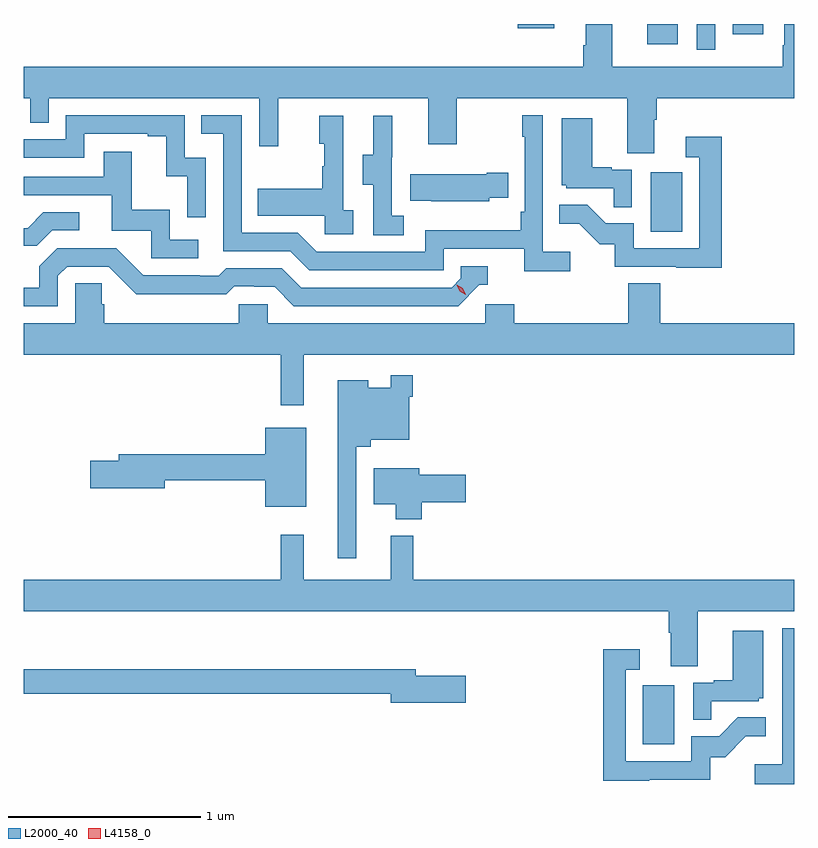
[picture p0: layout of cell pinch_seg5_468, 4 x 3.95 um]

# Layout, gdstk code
import gdstk
lib = gdstk.Library(unit=1e-6, precision=1e-09)
def R(c, l, rs):  # rectangles x0, y0, x1, y1
    for r in rs: c.add(gdstk.rectangle(r[:2], r[2:], *l))
def P(c, l, *ps):  # polygons
    for p in ps: c.add(gdstk.Polygon(p, *l))
L2000_40 = (2000, 40)
L4158_0 = (4158, 0)

pinch_seg5_468 = lib.new_cell('pinch_seg5_468')
R(pinch_seg5_468, L2000_40, [(902.36,853.404,902.524,853.711), (902.402,856.068,902.566,856.375), (902.64,857.013,902.736,857.146), (902.384,857.04,902.542,857.146), (902.828,857.094,902.986,857.146), (901.711,857.124,901.9,857.146)])
P(pinch_seg5_468, L2000_40, [(902.419,856.648),(902.432,856.648),(902.432,856.76),(903.146,856.76),(903.146,857.146),(903.095,857.146),(903.095,857.036),(903.088,857.036),(903.088,856.924),(902.203,856.924),(902.203,857.146),(902.063,857.146),(902.063,857.036),(902.051,857.036),(902.051,856.924),(899.146,856.924),(899.146,856.76),(899.178,856.76),(899.178,856.633),(899.274,856.633),(899.274,856.76),(900.369,856.76),(900.369,856.512),(900.467,856.512),(900.467,856.76),(901.247,856.76),(901.247,856.521),(901.395,856.521),(901.395,856.76),(902.279,856.76),(902.279,856.474),(902.419,856.474)],
  [(901.984,855.964),(901.842,855.964),(901.842,856.672),(901.734,856.672),(901.734,856.559),(901.746,856.559),(901.746,856.171),(901.726,856.171),(901.726,856.075),(901.23,856.075),(901.23,855.963),(900.666,855.963),(900.567,856.062),(900.276,856.062),(900.276,856.671),(900.067,856.671),(900.067,856.575),(900.18,856.575),(900.18,855.966),(900.53,855.966),(900.629,855.867),(901.326,855.867),(901.326,855.978),(901.745,855.978),(901.745,855.862),(901.984,855.862)],
  [(900.09,856.452),(899.982,856.452),(899.982,856.671),(899.364,856.671),(899.364,856.548),(899.146,856.548),(899.146,856.452),(899.46,856.452),(899.46,856.575),(899.789,856.575),(899.789,856.563),(899.885,856.563),(899.885,856.355),(899.994,856.355),(899.994,856.143),(900.09,856.143)],
  [(901.12,856.151),(901.056,856.151),(901.056,856.455),(901.058,856.455),(901.058,856.669),(900.959,856.669),(900.959,856.467),(900.905,856.467),(900.905,856.312),(900.96,856.312),(900.96,856.048),(901.12,856.048)],
  [(900.856,856.178),(900.804,856.178),(900.804,856.669),(900.68,856.669),(900.68,856.524),(900.706,856.524),(900.706,856.406),(900.696,856.406),(900.696,856.291),(900.361,856.291),(900.361,856.151),(900.708,856.151),(900.708,856.053),(900.856,856.053)],
  [(902.304,856.389),(902.198,856.389),(902.198,856.402),(902.098,856.402),(902.098,856.657),(901.94,856.657),(901.94,856.308),(901.962,856.308),(901.962,856.293),(902.209,856.293),(902.209,856.195),(902.304,856.195)],
  [(902.771,856.561),(902.583,856.561),(902.583,856.455),(902.655,856.455),(902.655,855.981),(902.313,855.981),(902.313,856.11),(902.169,856.11),(902.071,856.208),(901.927,856.208),(901.927,856.109),(902.031,856.109),(902.138,856.002),(902.215,856.002),(902.215,855.885),(902.533,855.885),(902.533,855.88),(902.771,855.88)],
  [(900.052,856.026),(899.904,856.026),(899.904,856.18),(899.705,856.18),(899.705,856.483),(899.561,856.483),(899.561,856.353),(899.146,856.353),(899.146,856.257),(899.603,856.257),(899.603,856.071),(899.808,856.071),(899.808,855.93),(900.052,855.93)],
  [(901.563,856.244),(901.661,856.244),(901.661,856.374),(901.55,856.374),(901.55,856.366),(901.153,856.366),(901.153,856.229),(901.261,856.229),(901.261,856.226),(901.563,856.226)],
  [(899.292,856.074),(899.434,856.074),(899.434,856.167),(899.246,856.167),(899.165,856.086),(899.146,856.086),(899.146,855.994),(899.212,855.994)],
  [(899.322,855.837),(899.37,855.885),(899.586,855.885),(899.728,855.743),(899.964,855.743),(899.964,855.741),(900.197,855.741),(900.239,855.783),(900.342,855.783),(900.342,855.78),(900.449,855.78),(900.548,855.681),(901.401,855.681),(901.512,855.792),(901.555,855.792),(901.555,855.888),(901.416,855.888),(901.416,855.825),(901.368,855.777),(900.585,855.777),(900.486,855.876),(900.197,855.876),(900.158,855.837),(900.059,855.837),(900.059,855.84),(899.766,855.84),(899.625,855.981),(899.319,855.981),(899.225,855.887),(899.225,855.777),(899.146,855.777),(899.146,855.681),(899.322,855.681)],
  [(900.481,855.165),(900.598,855.165),(900.598,855.428),(903.146,855.428),(903.146,855.592),(902.45,855.592),(902.45,855.8),(902.285,855.8),(902.285,855.592),(901.694,855.592),(901.694,855.69),(901.542,855.69),(901.542,855.592),(900.411,855.592),(900.411,855.69),(900.261,855.69),(900.261,855.592),(899.564,855.592),(899.564,855.69),(899.549,855.69),(899.549,855.8),(899.412,855.8),(899.412,855.592),(899.146,855.592),(899.146,855.428),(900.481,855.428)],
  [(900.873,854.951),(900.947,854.951),(900.947,854.987),(901.146,854.987),(901.146,855.209),(901.166,855.209),(901.166,855.322),(901.05,855.322),(901.05,855.256),(900.934,855.256),(900.934,855.295),(900.776,855.295),(900.776,854.37),(900.873,854.37)],
  [(900.613,855.049),(900.398,855.049),(900.398,854.912),(899.639,854.912),(899.639,854.876),(899.49,854.876),(899.49,854.734),(899.878,854.734),(899.878,854.776),(900.398,854.776),(900.398,854.639),(900.613,854.639)],
  [(901.211,854.662),(901.441,854.662),(901.441,854.804),(901.198,854.804),(901.198,854.839),(900.962,854.839),(900.962,854.651),(901.076,854.651),(901.076,854.573),(901.211,854.573)],
  [(902.647,854.096),(903.146,854.096),(903.146,854.26),(901.169,854.26),(901.169,854.488),(901.052,854.488),(901.052,854.26),(900.599,854.26),(900.599,854.494),(900.481,854.494),(900.481,854.26),(899.146,854.26),(899.146,854.096),(902.495,854.096),(902.495,853.984),(902.507,853.984),(902.507,853.81),(902.647,853.81)],
  [(903.146,854.008),(903.084,854.008),(903.084,853.3),(902.943,853.3),(902.943,853.198),(903.146,853.198)],
  [(902.717,853.629),(902.964,853.629),(902.964,853.644),(902.986,853.644),(902.986,853.993),(902.828,853.993),(902.828,853.738),(902.729,853.738),(902.729,853.725),(902.622,853.725),(902.622,853.531),(902.717,853.531)],
  [(902.393,853.221),(902.712,853.221),(902.712,853.338),(902.788,853.338),(902.895,853.445),(902.999,853.445),(902.999,853.544),(902.855,853.544),(902.757,853.446),(902.613,853.446),(902.613,853.317),(902.271,853.317),(902.271,853.791),(902.344,853.791),(902.344,853.897),(902.155,853.897),(902.155,853.216),(902.393,853.216)],
  [(901.441,853.761),(901.18,853.761),(901.18,853.795),(899.146,853.795),(899.146,853.666),(901.052,853.666),(901.052,853.619),(901.441,853.619)])
P(pinch_seg5_468, L4158_0, [(901.44,855.74),(901.409,855.759),(901.393,855.792),(901.393,855.792),(901.393,855.792),(901.424,855.773),(901.44,855.74),(901.44,855.74)])

lib.write_gds('pinch_seg5_468.gds')
